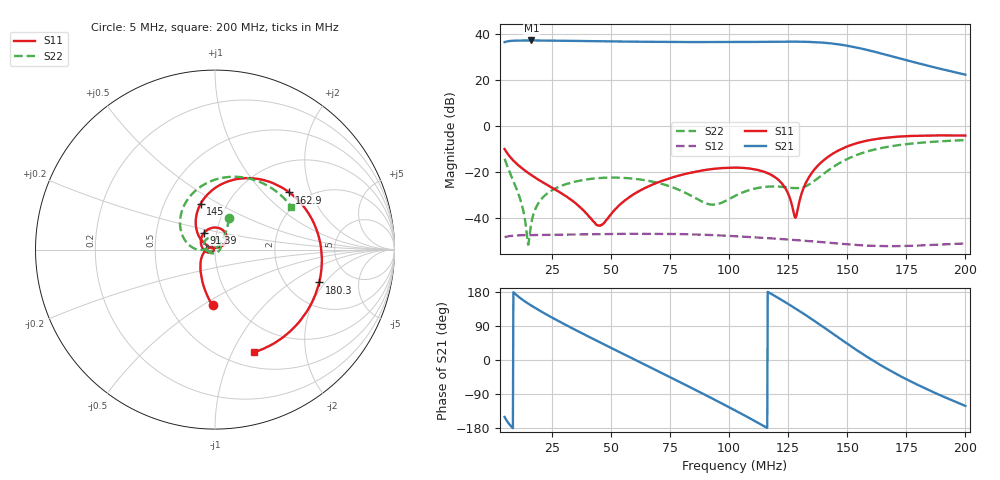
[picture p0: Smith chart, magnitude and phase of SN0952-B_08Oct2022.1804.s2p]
# Hz S DB R 50
! CMT, M5045, 22160017, 22.3.3/2
! Date: 10/8/2022 18:04:42
! Data: Format (Calibration Info)
! Freq	S11:dB/Ang(F2)	S21:dB/Ang(F2)	S12:dB/Ang(F2)	S22:dB/Ang(F2)
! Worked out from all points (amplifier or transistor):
!   1001 points, 5 MHz to 200 MHz, reference 50 ohm
!   highest |S21| = 37.1 dB at 16.31 MHz (marker M1)
!   |S21| within 3 dB of that: start of sweep to 153.6 MHz
!   unconditionally stable (mu >= 1): start of sweep to end of sweep
!   at 37.37 MHz: K = 1.79, MAG = 36.9 dB, |S12| = -47.2 dB
!   at 102.5 MHz: K = 2.01, MAG = 36.5 dB, |S12| = -48.0 dB
!   at 200 MHz: K = 6.96, MAG = 25.3 dB, |S12| = -51.1 dB
!   S11 on the Smith chart (normalised r, x): 5 MHz: 0.80, -0.55; 91.39 MHz: 0.87, +0.17; 145 MHz: 0.75, +0.42; 162.9 MHz: 1.64, +1.43; 180.3 MHz: 3.01, -1.75; 200 MHz: 0.66, -1.22
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5000000  -10.13 -92.5  36.37 -150.4  -48.48 -147.6  -14.38 66.3
9290000  -15.72 -118.2  37.00 175.5  -47.71 178.2  -25.45 51.3
1.631e7  -21.43 -150.8  37.09 143.5  -47.49 146.0  -42.30 -166.9
2.6645e7  -27.86 170.8  37.01 106.6  -47.33 110.1  -27.14 -173.1
3.7565e7  -35.97 144.5  36.85 71.1  -47.17 75.9  -23.71 161.5
4.6535e7  -42.81 -158.6  36.73 42.9  -47.06 49.2  -22.62 137.7
5.4335e7  -33.78 -136.7  36.63 18.7  -46.98 26.4  -22.60 115.6
6.233e7  -28.16 -153.9  36.54 -6.0  -46.94 3.3  -23.35 91.7
7.013e7  -24.52 -175.4  36.47 -30.1  -46.96 -19.2  -24.89 66.6
8.1245e7  -20.99 152.2  36.41 -64.7  -47.13 -51.5  -28.99 22.6
9.1385e7  -18.99 122.1  36.38 -96.8  -47.45 -81.4  -34.08 -49.3
1.025e8  -18.20 88.3  36.38 -132.9  -48.01 -114.9  -30.45 -139.0
1.11665e8  -19.10 60.0  36.46 -163.7  -48.55 -144.0  -27.13 -178.0
1.19465e8  -22.37 36.4  36.54 168.7  -49.07 -170.6  -26.39 161.4
1.26875e8  -35.72 40.1  36.58 140.8  -49.59 161.6  -27.04 157.7
1.35065e8  -20.40 144.6  36.41 107.6  -50.23 127.2  -24.72 178.4
1.4501e8  -11.44 107.3  35.58 64.8  -51.08 80.7  -17.28 172.3
1.53395e8  -7.77 73.5  34.12 28.7  -51.77 40.5  -12.93 148.5
1.6295e8  -5.64 37.5  31.81 -9.1  -52.26 -1.5  -9.99 119.2
1.6763e8  -5.06 21.4  30.55 -26.0  -52.33 -19.6  -9.05 105.6
1.80305e8  -4.31 -17.5  27.11 -67.0  -52.07 -61.0  -7.44 72.6
2e8  -4.26 -69.3  22.22 -121.3  -51.14 -111.9  -6.23 29.1
